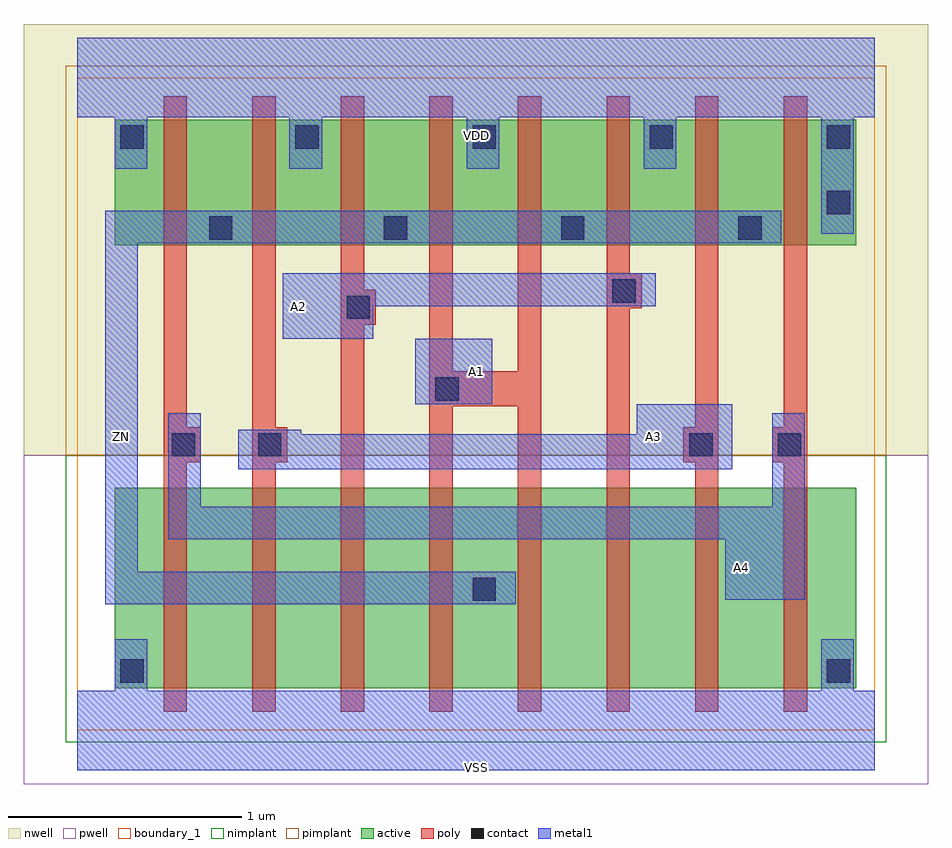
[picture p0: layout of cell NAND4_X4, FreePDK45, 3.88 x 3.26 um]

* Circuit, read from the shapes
.subckt NAND4_X4 A1 A2 A3 A4 VDD VSS ZN
M1 n1 A4 VSS VSUBS nfet w=0.86u l=0.1u
M2 n2 A3 n1 VSUBS nfet w=0.86u l=0.1u
M3 n3 A2 n2 VSUBS nfet w=0.86u l=0.1u
M4 ZN A1 n3 VSUBS nfet w=0.86u l=0.1u
M5 n4 A1 ZN VSUBS nfet w=0.86u l=0.1u
M6 n5 A2 n4 VSUBS nfet w=0.86u l=0.1u
M7 n6 A3 n5 VSUBS nfet w=0.86u l=0.1u
M8 VSS A4 n6 VSUBS nfet w=0.86u l=0.1u
M9 ZN A4 VDD n7 pfet w=0.54u l=0.1u m=2
M10 VDD A3 ZN n7 pfet w=0.54u l=0.1u m=2
M11 ZN A2 VDD n7 pfet w=0.54u l=0.1u m=2
M12 VDD A1 ZN n7 pfet w=0.54u l=0.1u m=2
.ends

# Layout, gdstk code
import gdstk
lib = gdstk.Library(unit=1e-6, precision=1e-09)
def R(c, l, rs):  # rectangles x0, y0, x1, y1
    for r in rs: c.add(gdstk.rectangle(r[:2], r[2:], *l))
def A(c, l, x, y, w, h, nx, ny, dx, dy):  # array of equal rectangles
    R(c, l, [(x+i*dx, y+j*dy, x+i*dx+w, y+j*dy+h) for i in range(nx) for j in range(ny)])
def P(c, l, *ps):  # polygons
    for p in ps: c.add(gdstk.Polygon(p, *l))
active = (1, 0)
pwell = (2, 0)
nwell = (3, 0)
nimplant = (4, 0)
pimplant = (5, 0)
poly = (9, 0)
contact = (10, 0)
metal1 = (11, 0)
boundary_1 = (235, 1)

nand4_x4 = lib.new_cell('NAND4_X4')
R(nand4_x4, active, [(0.16,0.18,3.34,1.04), (0.16,2.08,3.34,2.62)])
R(nand4_x4, pwell, [(-0.23,-0.23,3.65,1.18)])
R(nand4_x4, nwell, [(-0.23,1.18,3.65,3.03)])
R(nand4_x4, nimplant, [(-0.05,-0.05,3.47,1.18)])
R(nand4_x4, pimplant, [(-0.05,1.18,3.47,2.85)])
P(nand4_x4, poly, [(2.98,1.15),(3.03,1.15),(3.03,0.08),(3.13,0.08),(3.13,2.72),(3.03,2.72),(3.03,1.3),(2.98,1.3)],
  [(2.6,1.15),(2.65,1.15),(2.65,0.08),(2.75,0.08),(2.75,2.72),(2.65,2.72),(2.65,1.3),(2.6,1.3)],
  [(2.27,0.08),(2.37,0.08),(2.37,1.81),(2.42,1.81),(2.42,1.96),(2.37,1.96),(2.37,2.72),(2.27,2.72)],
  [(1.51,0.08),(1.61,0.08),(1.61,1.39),(1.89,1.39),(1.89,0.08),(1.99,0.08),(1.99,2.72),(1.89,2.72),(1.89,1.54),(1.61,1.54),(1.61,2.72),(1.51,2.72)],
  [(1.13,0.08),(1.23,0.08),(1.23,1.74),(1.28,1.74),(1.28,1.89),(1.23,1.89),(1.23,2.72),(1.13,2.72)],
  [(0.75,0.08),(0.85,0.08),(0.85,1.15),(0.9,1.15),(0.9,1.3),(0.85,1.3),(0.85,2.72),(0.75,2.72)],
  [(0.37,0.08),(0.47,0.08),(0.47,1.15),(0.53,1.15),(0.53,1.3),(0.47,1.3),(0.47,2.72),(0.37,2.72)])
A(nand4_x4, contact, 1.315, 2.105, 0.1, 0.1, 3, 1, 0.76, 0)
A(nand4_x4, contact, 0.935, 2.495, 0.1, 0.1, 4, 1, 0.76, 0)
R(nand4_x4, contact, [(0.185,0.205,0.285,0.305), (3.215,0.205,3.315,0.305), (1.695,0.555,1.795,0.655), (0.405,1.175,0.505,1.275), (0.775,1.175,0.875,1.275), (2.625,1.175,2.725,1.275), (3.005,1.175,3.105,1.275), (1.535,1.415,1.635,1.515), (1.155,1.765,1.255,1.865), (2.295,1.835,2.395,1.935), (0.565,2.105,0.665,2.205), (3.215,2.215,3.315,2.315), (0.185,2.495,0.285,2.595)])
R(nand4_x4, metal1, [(1.45,1.4,1.78,1.68), (1.45,1.4,1.78,1.68)])
P(nand4_x4, metal1, [(0.26,2.09),(3.02,2.09),(3.02,2.23),(0.12,2.23),(0.12,0.54),(1.88,0.54),(1.88,0.68),(0.26,0.68)],
  [(0.39,0.82),(2.78,0.82),(2.78,0.56),(3.12,0.56),(3.12,1.36),(2.98,1.36),(2.98,0.96),(0.53,0.96),(0.53,1.36),(0.39,1.36)],
  [(0.88,1.68),(1.27,1.68),(1.27,1.82),(2.48,1.82),(2.48,1.96),(0.88,1.96)],
  [(0,-0.17),(3.42,-0.17),(3.42,0.17),(3.33,0.17),(3.33,0.39),(3.19,0.39),(3.19,0.17),(0.3,0.17),(0.3,0.39),(0.16,0.39),(0.16,0.17),(0,0.17)],
  [(0.69,1.12),(2.81,1.12),(2.81,1.4),(2.4,1.4),(2.4,1.27),(0.96,1.27),(0.96,1.29),(0.69,1.29)],
  [(0,2.63),(0.16,2.63),(0.16,2.41),(0.3,2.41),(0.3,2.63),(0.91,2.63),(0.91,2.41),(1.05,2.41),(1.05,2.63),(1.67,2.63),(1.67,2.41),(1.81,2.41),(1.81,2.63),(2.43,2.63),(2.43,2.41),(2.57,2.41),(2.57,2.63),(3.19,2.63),(3.19,2.13),(3.33,2.13),(3.33,2.63),(3.42,2.63),(3.42,2.97),(0,2.97)],
  [(0,2.63),(0.16,2.63),(0.16,2.41),(0.3,2.41),(0.3,2.63),(0.91,2.63),(0.91,2.41),(1.05,2.41),(1.05,2.63),(1.67,2.63),(1.67,2.41),(1.81,2.41),(1.81,2.63),(2.43,2.63),(2.43,2.41),(2.57,2.41),(2.57,2.63),(3.19,2.63),(3.19,2.13),(3.33,2.13),(3.33,2.63),(3.42,2.63),(3.42,2.97),(0,2.97)],
  [(0,-0.17),(3.42,-0.17),(3.42,0.17),(3.33,0.17),(3.33,0.39),(3.19,0.39),(3.19,0.17),(0.3,0.17),(0.3,0.39),(0.16,0.39),(0.16,0.17),(0,0.17)],
  [(0.39,0.82),(2.78,0.82),(2.78,0.56),(3.12,0.56),(3.12,1.36),(2.98,1.36),(2.98,0.96),(0.53,0.96),(0.53,1.36),(0.39,1.36)],
  [(0.26,2.09),(3.02,2.09),(3.02,2.23),(0.12,2.23),(0.12,0.54),(1.88,0.54),(1.88,0.68),(0.26,0.68)],
  [(0.69,1.12),(2.81,1.12),(2.81,1.4),(2.4,1.4),(2.4,1.27),(0.96,1.27),(0.96,1.29),(0.69,1.29)],
  [(0.88,1.68),(1.27,1.68),(1.27,1.82),(2.48,1.82),(2.48,1.96),(0.88,1.96)])
R(nand4_x4, boundary_1, [(0,0,3.42,2.8)])
nand4_x4.add(gdstk.Label('ZN', (0.19,1.26), layer=11, texttype=0))
nand4_x4.add(gdstk.Label('VSS', (1.71,-0.16), layer=11, texttype=0))
nand4_x4.add(gdstk.Label('VDD', (1.71,2.55), layer=11, texttype=0))
nand4_x4.add(gdstk.Label('A4', (2.85,0.7), layer=11, texttype=0))
nand4_x4.add(gdstk.Label('A3', (2.47,1.26), layer=11, texttype=0))
nand4_x4.add(gdstk.Label('A2', (0.95,1.82), layer=11, texttype=0))
nand4_x4.add(gdstk.Label('A1', (1.71,1.54), layer=11, texttype=0))

lib.write_gds('NAND4_X4.gds')
